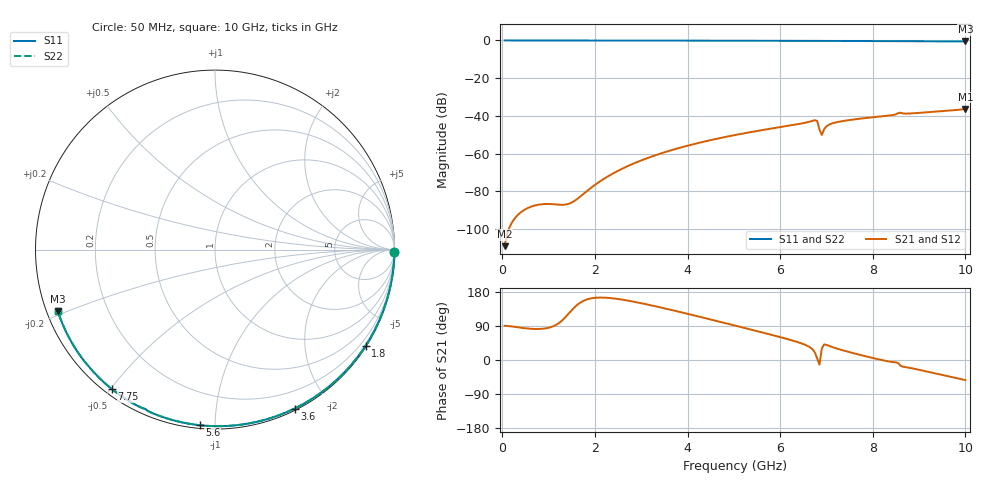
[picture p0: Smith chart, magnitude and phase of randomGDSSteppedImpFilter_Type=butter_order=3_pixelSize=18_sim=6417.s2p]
! freq	dB(S11)	phase(S11)	dB(S12)	phase(S12)
!  dB(S21)	phase(S21)	dB(S22)	phase(S22)
!S-par simulation data
#  GHz  S  DB  R 50
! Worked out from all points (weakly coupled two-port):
!   200 points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, 50 MHz to 10 GHz, reference 50 ohm
!   highest |S21| = -36.32 dB at 10 GHz (marker M1); lowest = -109.1 dB at 50 MHz (marker M2)
!   lowest |S11| = -0.5 dB at 10 GHz (marker M3), VSWR 32.88, Z = 1.57 - j9.39 ohm
!   |S11| at or under -10 dB: nowhere
!   |S22| runs from -0.5 to 0.0 dB; largest |S21 - S12| = 0
!   S11 on the Smith chart (normalised r, x): 50 MHz: open; 1.8 GHz: 0.03, -3.42; 3.6 GHz: 0.02, -1.62; 5.6 GHz: 0.02, -0.92; 7.75 GHz: 0.02, -0.50; 10 GHz: 0.03, -0.19
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0.05  -0.00 -0.9  -109.10 90.2  -109.10 90.2  -0.00 -0.9
0.9  -0.02 -16.5  -86.76 82.8  -86.76 82.8  -0.02 -16.5
1.75  -0.04 -31.7  -81.43 156.0  -81.43 156.0  -0.04 -31.7
1.8  -0.04 -32.6  -80.43 158.6  -80.43 158.6  -0.04 -32.6
2.2  -0.05 -39.6  -73.30 164.6  -73.30 164.6  -0.05 -39.6
2.55  -0.06 -45.7  -68.50 160.0  -68.50 160.0  -0.06 -45.7
3.4  -0.08 -60.1  -60.12 139.2  -60.12 139.2  -0.08 -60.1
3.6  -0.09 -63.4  -58.58 133.5  -58.58 133.5  -0.09 -63.4
5.05  -0.13 -86.6  -50.04 90.1  -50.04 90.1  -0.13 -86.6
5.6  -0.16 -95.0  -47.59 73.1  -47.59 73.1  -0.16 -95.0
6.7  -0.22 -111.4  -42.62 28.1  -42.62 28.1  -0.22 -111.4
6.8  -0.25 -113.0  -42.67 4.0  -42.67 4.0  -0.25 -113.0
6.85  -0.27 -113.6  -47.38 -12.2  -47.38 -12.2  -0.27 -113.6
6.9  -0.26 -114.1  -50.10 30.6  -50.10 30.6  -0.26 -114.1
6.95  -0.25 -114.9  -47.03 41.1  -47.03 41.1  -0.25 -114.9
7  -0.25 -115.6  -45.54 39.8  -45.54 39.8  -0.25 -115.6
7.1  -0.25 -117.1  -44.19 35.3  -44.19 35.3  -0.25 -117.1
7.75  -0.30 -126.4  -41.41 12.8  -41.41 12.8  -0.30 -126.4
8.35  -0.35 -135.0  -39.83 -4.0  -39.83 -4.0  -0.35 -135.0
8.6  -0.38 -138.5  -38.33 -15.0  -38.33 -15.0  -0.38 -138.5
8.8  -0.39 -141.4  -38.74 -20.8  -38.74 -20.8  -0.39 -141.4
10  -0.53 -158.7  -36.32 -53.0  -36.32 -53.0  -0.53 -158.7
